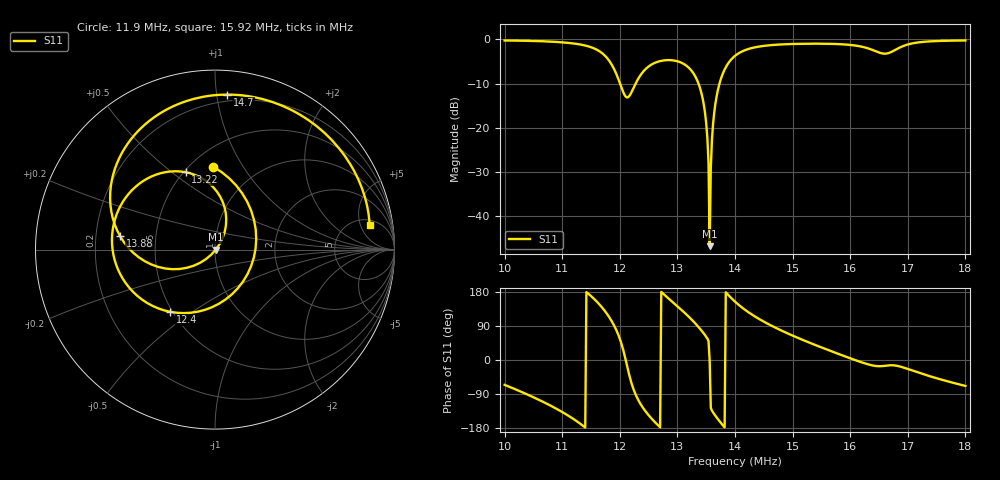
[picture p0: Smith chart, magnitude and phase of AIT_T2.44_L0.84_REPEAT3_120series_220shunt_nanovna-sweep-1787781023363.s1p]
! NanoVNA Web complex sweep
! Processing: original sample grid, no browser smoothing
# Hz S RI R 50
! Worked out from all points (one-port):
!   401 points, 10 MHz to 18 MHz, reference 50 ohm
!   lowest |S11| = -46.7 dB at 13.56 MHz (marker M1), VSWR 1.01, Z = 50.5 - j0.00296 ohm
!   |S11| at or under -10 dB: 12 MHz to 12.27 MHz (270.8 kHz wide, 2.23 % of centre); 13.37 MHz to 13.73 MHz (365.5 kHz wide, 2.7 % of centre)
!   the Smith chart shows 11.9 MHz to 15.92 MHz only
!   S11 on the Smith chart (normalised r, x): 11.9 MHz: 0.64, +0.75; 12.4 MHz: 0.49, -0.41; 13.22 MHz: 0.51, +0.56; 13.88 MHz: 0.31, +0.06; 14.7 MHz: 0.15, +1.07; 15.92 MHz: 6.35, +7.22
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1e7  0.4001 -0.8821
1.054e7  -0.1843 -0.9376
1.1e7  -0.6784 -0.6264
1.148e7  -0.8128 0.1216
1.172e7  -0.4622 0.4896
1.19e7  -0.00977 0.4618
1.2e7  0.1794 0.2667
1.214e7  0.2012 -0.0921
1.24e7  -0.2486 -0.3469
1.268e7  -0.5604 -0.0529
1.3e7  -0.4436 0.349
1.322e7  -0.1639 0.4312
1.344e7  0.0599 0.2034
1.352e7  0.0425 0.0647
1.356e7  0.00462 -2.94e-05
1.36e7  -0.0508 -0.0533
1.362e7  -0.084 -0.0741
1.368e7  -0.198 -0.1081
1.388e7  -0.5281 0.0737
1.4e7  -0.5843 0.2845
1.434e7  -0.3474 0.7313
1.47e7  0.0691 0.8638
1.5e7  0.383 0.798
1.592e7  0.8615 0.136
1.6e7  0.8601 0.0692
1.658e7  0.6628 -0.1863
1.7e7  0.7997 -0.3509
1.8e7  0.356 -0.9019
